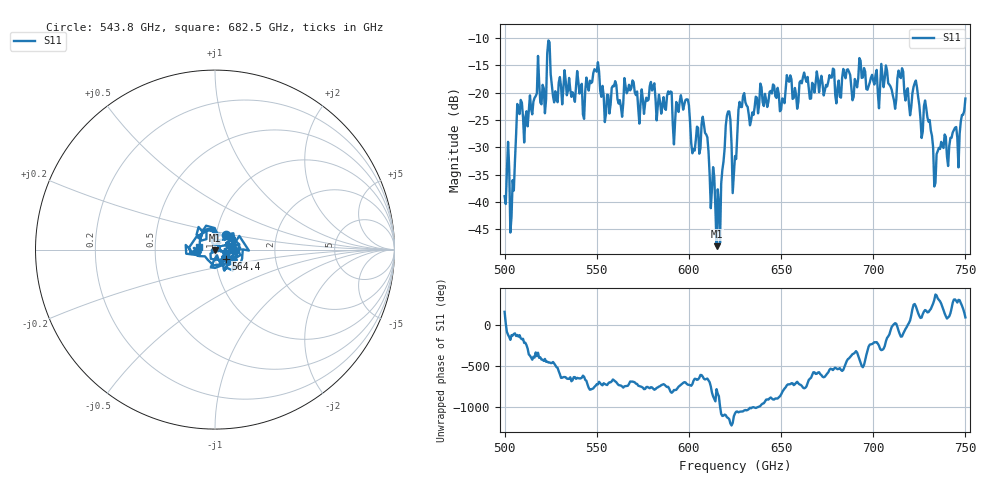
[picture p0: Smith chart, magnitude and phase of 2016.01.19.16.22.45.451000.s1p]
!Created with skrf (http://scikit-rf.org).
# GHz S RI R 50.0
!freq ReS11 ImS11
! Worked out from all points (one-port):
!   401 points, 500 GHz to 750 GHz, reference 50 ohm
!   lowest |S11| = -48.1 dB at 615 GHz (marker M1), VSWR 1.01, Z = 50.2 - j0.343 ohm
!   |S11| at or under -10 dB: start of sweep to end of sweep
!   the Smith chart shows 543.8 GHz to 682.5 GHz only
!   S11 on the Smith chart (normalised r, x): 543.8 GHz: 1.12, +0.19; 564.4 GHz: 1.12, -0.12; 682.5 GHz: 0.84, +0.02
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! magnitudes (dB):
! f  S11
! 500 GHz  -38.9
! 504.4 GHz  -36.0
! 508.1 GHz  -23.9
! 521.2 GHz  -19.2
! 524.4 GHz  -10.8
! 527.5 GHz  -19.8
! 531.2 GHz  -22.2
! 543.8 GHz  -19.7
! 550 GHz  -16.2
! 562.5 GHz  -21.4
! 564.4 GHz  -22.0
! 593.8 GHz  -22.4
! 598.8 GHz  -21.2
! 602.5 GHz  -30.3
! 608.8 GHz  -27.4
! 615 GHz  -48.1
! 616.2 GHz  -40.2
! 621.2 GHz  -23.5
! 625 GHz  -31.6
! 628.8 GHz  -22.6
! 656.2 GHz  -21.2
! 682.5 GHz  -20.9
! 687.5 GHz  -16.8
! 715 GHz  -17.4
! 718.8 GHz  -19.2
! 728.8 GHz  -22.8
! 733.8 GHz  -36.5
! 750 GHz  -21.1
